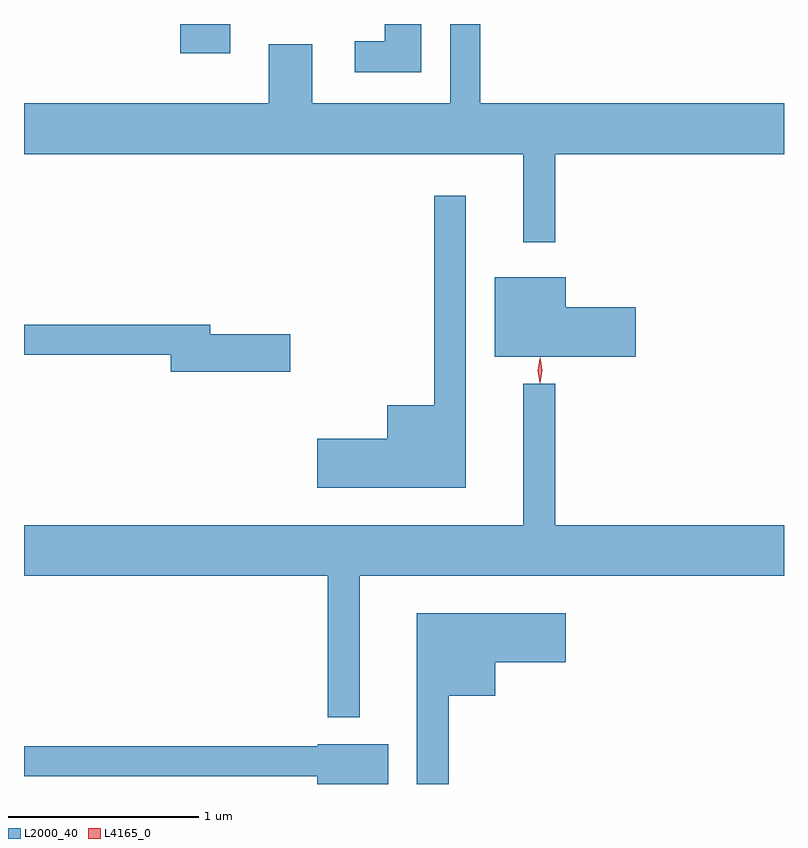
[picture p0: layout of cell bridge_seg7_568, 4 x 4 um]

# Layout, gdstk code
import gdstk
lib = gdstk.Library(unit=1e-6, precision=1e-09)
def R(c, l, rs):  # rectangles x0, y0, x1, y1
    for r in rs: c.add(gdstk.rectangle(r[:2], r[2:], *l))
def P(c, l, *ps):  # polygons
    for p in ps: c.add(gdstk.Polygon(p, *l))
L2000_40 = (2000, 40)
L4165_0 = (4165, 0)

bridge_seg7_568 = lib.new_cell('bridge_seg7_568')
R(bridge_seg7_568, L2000_40, [(787.336,1801.426,787.599,1801.581)])
P(bridge_seg7_568, L2000_40, [(789.309,1800.896),(790.513,1800.896),(790.513,1801.164),(788.914,1801.164),(788.914,1801.581),(788.756,1801.581),(788.756,1801.164),(788.029,1801.164),(788.029,1801.474),(787.801,1801.474),(787.801,1801.164),(786.513,1801.164),(786.513,1800.896),(789.141,1800.896),(789.141,1800.433),(789.309,1800.433)],
  [(788.604,1801.581),(788.411,1801.581),(788.411,1801.489),(788.253,1801.489),(788.253,1801.326),(788.604,1801.326)],
  [(788.839,1800.678),(788.671,1800.678),(788.671,1799.574),(788.426,1799.574),(788.426,1799.399),(788.056,1799.399),(788.056,1799.141),(788.839,1799.141)],
  [(789.734,1800.089),(789.364,1800.089),(789.364,1800.249),(788.991,1800.249),(788.991,1799.831),(789.734,1799.831)],
  [(787.914,1799.949),(787.494,1799.949),(787.494,1799.999),(786.513,1799.999),(786.513,1799.841),(787.286,1799.841),(787.286,1799.751),(787.914,1799.751)],
  [(788.279,1798.676),(790.513,1798.676),(790.513,1798.944),(789.309,1798.944),(789.309,1799.688),(789.141,1799.688),(789.141,1798.944),(786.513,1798.944),(786.513,1798.676),(788.111,1798.676),(788.111,1797.933),(788.279,1797.933)],
  [(788.749,1798.046),(788.994,1798.046),(788.994,1798.221),(789.364,1798.221),(789.364,1798.479),(788.581,1798.479),(788.581,1797.581),(788.749,1797.581)],
  [(788.429,1797.789),(788.06,1797.789),(788.06,1797.779),(786.513,1797.779),(786.513,1797.621),(788.056,1797.621),(788.056,1797.581),(788.429,1797.581)])
P(bridge_seg7_568, L4165_0, [(789.227,1799.693),(789.227,1799.693),(789.217,1799.756),(789.227,1799.819),(789.227,1799.82),(789.228,1799.819),(789.237,1799.756),(789.228,1799.693)],
  [(789.229,1799.69),(789.229,1799.69),(789.22,1799.758),(789.23,1799.826),(789.231,1799.826),(789.231,1799.826),(789.24,1799.758),(789.23,1799.69)])

lib.write_gds('bridge_seg7_568.gds')
